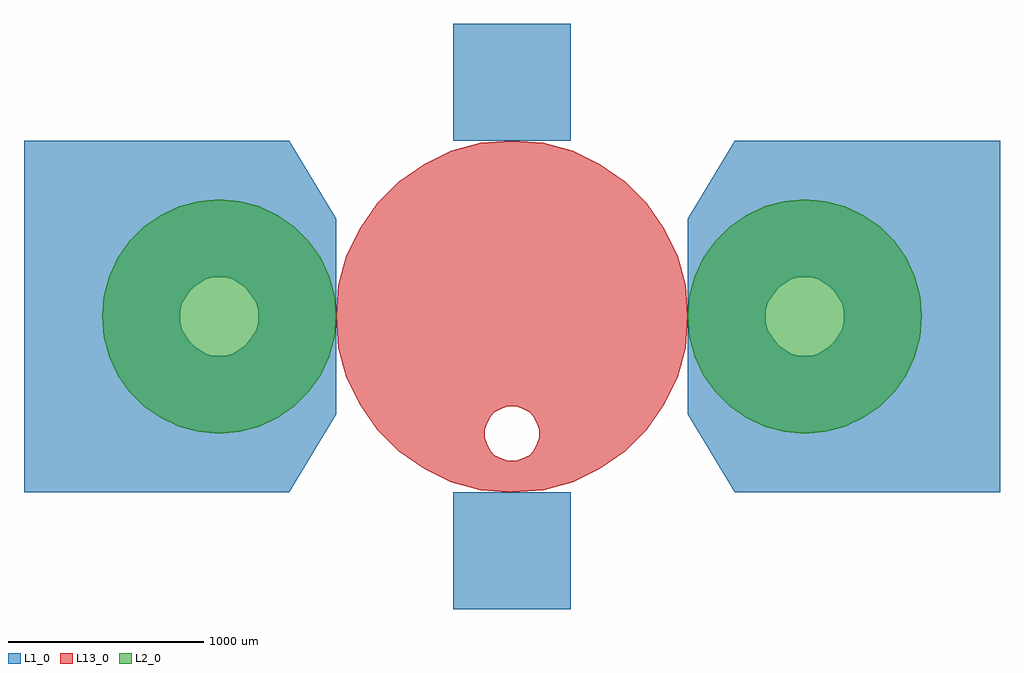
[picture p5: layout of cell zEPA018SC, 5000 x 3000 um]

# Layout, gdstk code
import gdstk
lib = gdstk.Library(unit=1e-6, precision=1e-09)
def R(c, l, rs):  # rectangles x0, y0, x1, y1
    for r in rs: c.add(gdstk.rectangle(r[:2], r[2:], *l))
def P(c, l, *ps):  # polygons
    for p in ps: c.add(gdstk.Polygon(p, *l))
L1_0 = (1, 0)
L2_0 = (2, 0)
L13_0 = (13, 0)

zepa018sc = lib.new_cell('zEPA018SC')
R(zepa018sc, L1_0, [(-300,-1500,300,-900), (-300,900,300,1500)])
P(zepa018sc, L1_0, [(-1630,-150),(-1650,-130),(-1690,-70),(-1700,-30),(-1700,30),(-1690,70),(-1650,130),(-1630,150),(-1570,190),(-1530,200),(-1470,200),(-1430,190),(-1370,150),(-1350,130),(-1310,70),(-1300,30),(-1300,-30),(-1310,-70),(-1350,-130),(-1370,-150),(-1430,-190),(-1470,-200),(-1500,-200),(-1500,-900),(-1140,-900),(-900,-500),(-900,500),(-1140,900),(-2500,900),(-2500,-900),(-1500,-900),(-1500,-200),(-1530,-200),(-1570,-190)],
  [(2500,-900),(2500,900),(1140,900),(900,500),(900,-500),(1140,-900),(1500,-900),(1500,-200),(1470,-200),(1430,-190),(1370,-150),(1350,-130),(1310,-70),(1300,-30),(1300,30),(1310,70),(1350,130),(1370,150),(1430,190),(1470,200),(1530,200),(1570,190),(1630,150),(1650,130),(1690,70),(1700,30),(1700,-30),(1690,-70),(1650,-130),(1630,-150),(1570,-190),(1530,-200),(1500,-200),(1500,-900)])
P(zepa018sc, L2_0, [(-900,0),(-909.115,-104.189),(-936.184,-205.212),(-980.385,-300),(-1040.373,-385.673),(-1114.327,-459.627),(-1200,-519.615),(-1294.788,-563.816),(-1395.811,-590.885),(-1500,-600),(-1604.189,-590.885),(-1705.212,-563.816),(-1800,-519.615),(-1885.673,-459.627),(-1959.627,-385.673),(-2019.615,-300),(-2063.816,-205.212),(-2090.885,-104.189),(-2100,0),(-2090.885,104.189),(-2063.816,205.212),(-2019.615,300),(-1959.627,385.673),(-1885.673,459.627),(-1800,519.615),(-1705.212,563.816),(-1604.189,590.885),(-1500,600),(-1395.811,590.885),(-1294.788,563.816),(-1200,519.615),(-1114.327,459.627),(-1040.373,385.673),(-980.385,300),(-936.184,205.212),(-909.115,104.189)],
  [(2100,0),(2090.885,-104.189),(2063.816,-205.212),(2019.615,-300),(1959.627,-385.673),(1885.673,-459.627),(1800,-519.615),(1705.212,-563.816),(1604.189,-590.885),(1500,-600),(1395.811,-590.885),(1294.788,-563.816),(1200,-519.615),(1114.327,-459.627),(1040.373,-385.673),(980.385,-300),(936.184,-205.212),(909.115,-104.189),(900,0),(909.115,104.189),(936.184,205.212),(980.385,300),(1040.373,385.673),(1114.327,459.627),(1200,519.615),(1294.788,563.816),(1395.811,590.885),(1500,600),(1604.189,590.885),(1705.212,563.816),(1800,519.615),(1885.673,459.627),(1959.627,385.673),(2019.615,300),(2063.816,205.212),(2090.885,104.189)])
P(zepa018sc, L13_0, [(-20,-900),(0,-900),(160,-890),(310,-850),(450,-780),(580,-690),(690,-580),(780,-450),(850,-310),(890,-160),(900,0),(890,160),(850,310),(780,450),(690,580),(580,690),(450,780),(310,850),(160,890),(0,900),(-160,890),(-310,850),(-450,780),(-580,690),(-690,580),(-780,450),(-850,310),(-890,160),(-900,0),(-890,-160),(-850,-310),(-780,-450),(-690,-580),(-580,-690),(-450,-780),(-310,-850),(-160,-890),(-20,-900),(-20,-740),(-50,-730),(-90,-710),(-110,-690),(-130,-650),(-140,-620),(-140,-580),(-130,-550),(-110,-510),(-90,-490),(-50,-470),(-20,-460),(20,-460),(50,-470),(90,-490),(110,-510),(130,-550),(140,-580),(140,-620),(130,-650),(110,-690),(90,-710),(50,-730),(20,-740),(-20,-740)])
zepa018sc.add(gdstk.FlexPath([(300,-900),(-300,-900)], 0, ends="round", simple_path=True, layer=13, datatype=0))  # L13_0
zepa018sc.add(gdstk.FlexPath([(-300,900),(300,900)], 0, ends="round", simple_path=True, layer=13, datatype=0))  # L13_0

lib.write_gds('zEPA018SC.gds')
